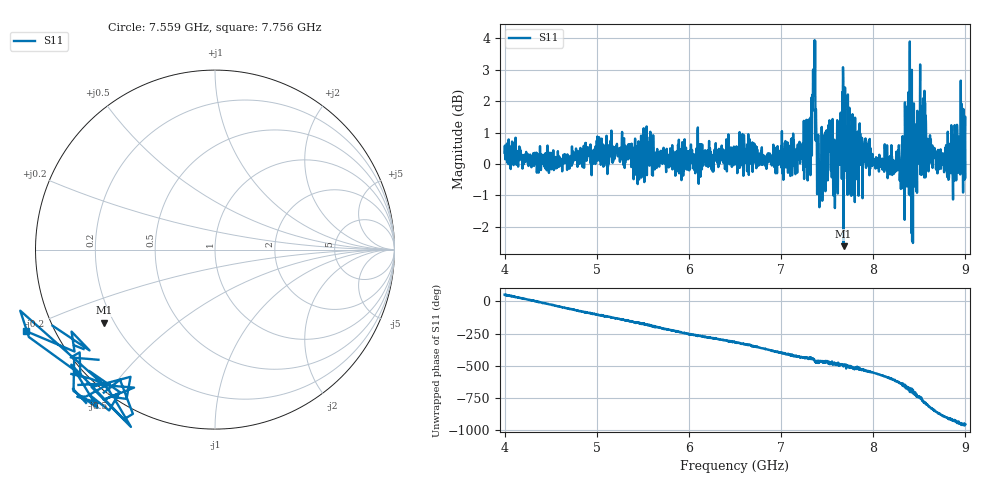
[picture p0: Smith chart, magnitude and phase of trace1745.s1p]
! Created with skrf 1.8.0 (http://scikit-rf.org).
# Hz S RI R 50.0
!freq ReS11 ImS11
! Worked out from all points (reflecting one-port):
!   1601 points, 4 GHz to 9 GHz, reference 50 ohm
!   lowest |S11| = -2.6 dB at 7.678 GHz (marker M1), VSWR 6.70, Z = 8.12 - j14.6 ohm
!   phase of S11 starts at 53 deg and turns -1010 deg over the sweep
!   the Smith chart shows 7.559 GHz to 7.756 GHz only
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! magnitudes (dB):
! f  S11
! 4 GHz  0.4
! 4.625 GHz  -0.2
! 5.25 GHz  0.1
! 5.875 GHz  0.2
! 6.5 GHz  0.3
! 7.125 GHz  0.6
! 7.303 GHz  1.4
! 7.356 GHz  3.0
! 7.412 GHz  0.1
! 7.538 GHz  0.9
! 7.591 GHz  0.0
! 7.638 GHz  1.4
! 7.65 GHz  0.6
! 7.678 GHz  -2.6
! 7.691 GHz  0.8
! 7.703 GHz  -0.2
! 7.75 GHz  -0.7
! 8.259 GHz  0.3
! 8.316 GHz  0.4
! 8.375 GHz  0.2
! 8.394 GHz  0.0
! 8.447 GHz  1.2
! 8.459 GHz  -0.7
! 8.556 GHz  2.3
! 8.622 GHz  0.3
! 8.803 GHz  -0.4
! 8.972 GHz  0.1
! 9 GHz  -0.4
